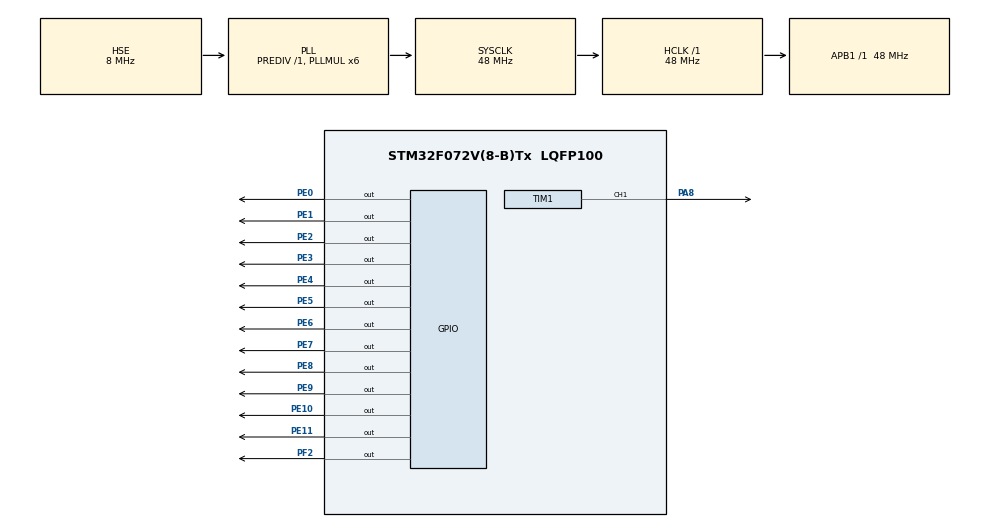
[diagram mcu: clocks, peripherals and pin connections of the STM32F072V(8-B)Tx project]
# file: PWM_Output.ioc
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Mcu.Family=STM32F0
Mcu.Name=STM32F072V(8-B)Tx
Mcu.Package=LQFP100
PA8.Signal=S_TIM1_CH1
PE0.Signal=GPIO_Output
PE1.Signal=GPIO_Output
PE10.Signal=GPIO_Output
PE11.Signal=GPIO_Output
PE2.Signal=GPIO_Output
PE3.Signal=GPIO_Output
PE4.Signal=GPIO_Output
PE5.Signal=GPIO_Output
PE6.Signal=GPIO_Output
PE7.Signal=GPIO_Output
PE8.Signal=GPIO_Output
PE9.Signal=GPIO_Output
PF0-OSC_IN.Mode=HSE-External-Oscillator
PF0-OSC_IN.Signal=RCC_OSC_IN
PF1-OSC_OUT.Mode=HSE-External-Oscillator
PF1-OSC_OUT.Signal=RCC_OSC_OUT
PF2.Signal=GPIO_Output
ProjectManager.HeapSize=0x200
ProjectManager.StackSize=0x400
ProjectManager.TargetToolchain=MDK-ARM V5
RCC.AHBFreq_Value=48000000
RCC.APB1Freq_Value=48000000
RCC.APB1TimFreq_Value=48000000
RCC.HCLKFreq_Value=48000000
RCC.HSIState=RCC_HSI_ON
RCC.PLLMUL=RCC_PLL_MUL6
RCC.PLLSourceVirtual=RCC_PLLSOURCE_HSE
RCC.SYSCLKFreq_VALUE=48000000
RCC.SYSCLKSource=RCC_SYSCLKSOURCE_PLLCLK
SH.S_TIM1_CH1.0=TIM1_CH1,PWM Generation1 CH1
TIM1.OCPolarity_1=TIM_OCPOLARITY_LOW
TIM1.Period=500
TIM1.Prescaler=47
VP_TIM1_VS_ClockSourceINT.Mode=Internal
board=PWM_Output

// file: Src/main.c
/**
  ******************************************************************************
  * File Name          : main.c
  * Description        : Main program body
  ******************************************************************************
  *
  * COPYRIGHT(c) 2017 STMicroelectronics
  *
  * Redistribution and use in source and binary forms, with or without modification,
  * are permitted provided that the following conditions are met:
  *   1. Redistributions of source code must retain the above copyright notice,
  *      this list of conditions and the following disclaimer.
  *   2. Redistributions in binary form must reproduce the above copyright notice,
  *      this list of conditions and the following disclaimer in the documentation
  *      and/or other materials provided with the distribution.
  *   3. Neither the name of STMicroelectronics nor the names of its contributors
  *      may be used to endorse or promote products derived from this software
  *      without specific prior written permission.
  *
  * THIS SOFTWARE IS PROVIDED BY THE COPYRIGHT HOLDERS AND CONTRIBUTORS "AS IS"
  * AND ANY EXPRESS OR IMPLIED WARRANTIES, INCLUDING, BUT NOT LIMITED TO, THE
  * IMPLIED WARRANTIES OF MERCHANTABILITY AND FITNESS FOR A PARTICULAR PURPOSE ARE
  * DISCLAIMED. IN NO EVENT SHALL THE COPYRIGHT HOLDER OR CONTRIBUTORS BE LIABLE
  * FOR ANY DIRECT, INDIRECT, INCIDENTAL, SPECIAL, EXEMPLARY, OR CONSEQUENTIAL
  * DAMAGES (INCLUDING, BUT NOT LIMITED TO, PROCUREMENT OF SUBSTITUTE GOODS OR
  * SERVICES; LOSS OF USE, DATA, OR PROFITS; OR BUSINESS INTERRUPTION) HOWEVER
  * CAUSED AND ON ANY THEORY OF LIABILITY, WHETHER IN CONTRACT, STRICT LIABILITY,
  * OR TORT (INCLUDING NEGLIGENCE OR OTHERWISE) ARISING IN ANY WAY OUT OF THE USE
  * OF THIS SOFTWARE, EVEN IF ADVISED OF THE POSSIBILITY OF SUCH DAMAGE.
  *
  ******************************************************************************
  */
#include "stm32f0xx_hal.h"

TIM_HandleTypeDef htim1;

/* USER CODE BEGIN PV */
/* Private variables ---------------------------------------------------------*/

/* USER CODE END PV */

void SystemClock_Config(void);
void Error_Handler(void);
static void MX_GPIO_Init(void);
static void MX_TIM1_Init(void);

void HAL_TIM_MspPostInit(TIM_HandleTypeDef *htim);

/* USER CODE BEGIN PFP */
/* Private function prototypes -----------------------------------------------*/
void SEG_Display(uint32_t num);     /*  数码管显示函数  */

/* USER CODE END PFP */

/* USER CODE BEGIN 0 */
const uint8_t table0[]= {0x3f,0x06,0x5b,0x4f,0x66,0x6d,0x7d,0x07,0x7f,0x6f};  /* 共阴（无点）*/
const uint8_t table1[]= {0xbf,0x86,0xdb,0xcf,0xe6,0xed,0xfd,0x87,0xff,0xef};  /* 共阴（有点）*/

uint32_t number;       /* 定义循环变量   */
uint32_t status;       /* 定义状态变量   */
uint32_t duty_ratio;   /* 定义占空比变量 */

/* USER CODE END 0 */

int main(void)
{

  /* MCU Configuration----------------------------------------------------------*/

  /* Reset of all peripherals, Initializes the Flash interface and the Systick. */
  HAL_Init();

  /* Configure the system clock */
  SystemClock_Config();

  /* Initialize all configured peripherals */
  MX_GPIO_Init();
  MX_TIM1_Init();

  /* USER CODE BEGIN 2 */

	/* 启动PWM输出 */
	status = HAL_TIM_PWM_Start(&htim1,TIM_CHANNEL_1);

  /* USER CODE END 2 */

  /* Infinite loop */
  /* USER CODE BEGIN WHILE */
  while (1)
  {
		/* 控制PWM波形高电平时间（0-500笥秒）*/
		number++;
		if(number>1000)
		{
			number=0;
		}

		if(number<=500)
		{
			duty_ratio = number;
			TIM1->CCR1  =  duty_ratio;
		}
		else
		{
			 duty_ratio = 1000-number;
		   TIM1->CCR1  = duty_ratio;
		}
		/*  数码管显示高电平持续时间 */
		SEG_Display(duty_ratio);

  /* USER CODE END WHILE */

  }

}

/** System Clock Configuration
*/
void SystemClock_Config(void)
{

  RCC_OscInitTypeDef RCC_OscInitStruct;
  RCC_ClkInitTypeDef RCC_ClkInitStruct;

  RCC_OscInitStruct.OscillatorType = RCC_OSCILLATORTYPE_HSE;
  RCC_OscInitStruct.HSEState = RCC_HSE_ON;
  RCC_OscInitStruct.PLL.PLLState = RCC_PLL_ON;
  RCC_OscInitStruct.PLL.PLLSource = RCC_PLLSOURCE_HSE;
  RCC_OscInitStruct.PLL.PLLMUL = RCC_PLL_MUL6;
  RCC_OscInitStruct.PLL.PREDIV = RCC_PREDIV_DIV1;
  if (HAL_RCC_OscConfig(&RCC_OscInitStruct) != HAL_OK)
  {
    Error_Handler();
  }

  RCC_ClkInitStruct.ClockType = RCC_CLOCKTYPE_HCLK|RCC_CLOCKTYPE_SYSCLK
                              |RCC_CLOCKTYPE_PCLK1;
  RCC_ClkInitStruct.SYSCLKSource = RCC_SYSCLKSOURCE_PLLCLK;
  RCC_ClkInitStruct.AHBCLKDivider = RCC_SYSCLK_DIV1;
  RCC_ClkInitStruct.APB1CLKDivider = RCC_HCLK_DIV1;
  if (HAL_RCC_ClockConfig(&RCC_ClkInitStruct, FLASH_LATENCY_1) != HAL_OK)
  {
    Error_Handler();
  }

  HAL_SYSTICK_Config(HAL_RCC_GetHCLKFreq()/1000);

  HAL_SYSTICK_CLKSourceConfig(SYSTICK_CLKSOURCE_HCLK);

  /* SysTick_IRQn interrupt configuration */
  HAL_NVIC_SetPriority(SysTick_IRQn, 0, 0);
}

/* TIM1 init function */
static void MX_TIM1_Init(void)
{

  TIM_ClockConfigTypeDef sClockSourceConfig;
  TIM_MasterConfigTypeDef sMasterConfig;
  TIM_BreakDeadTimeConfigTypeDef sBreakDeadTimeConfig;
  TIM_OC_InitTypeDef sConfigOC;

  htim1.Instance = TIM1;
  htim1.Init.Prescaler = 47;
  htim1.Init.CounterMode = TIM_COUNTERMODE_UP;
  htim1.Init.Period = 500;
  htim1.Init.ClockDivision = TIM_CLOCKDIVISION_DIV1;
  htim1.Init.RepetitionCounter = 0;
  if (HAL_TIM_Base_Init(&htim1) != HAL_OK)
  {
    Error_Handler();
  }

  sClockSourceConfig.ClockSource = TIM_CLOCKSOURCE_INTERNAL;
  if (HAL_TIM_ConfigClockSource(&htim1, &sClockSourceConfig) != HAL_OK)
  {
    Error_Handler();
  }

  if (HAL_TIM_PWM_Init(&htim1) != HAL_OK)
  {
    Error_Handler();
  }

  sMasterConfig.MasterOutputTrigger = TIM_TRGO_RESET;
  sMasterConfig.MasterSlaveMode = TIM_MASTERSLAVEMODE_DISABLE;
  if (HAL_TIMEx_MasterConfigSynchronization(&htim1, &sMasterConfig) != HAL_OK)
  {
    Error_Handler();
  }

  sBreakDeadTimeConfig.OffStateRunMode = TIM_OSSR_DISABLE;
  sBreakDeadTimeConfig.OffStateIDLEMode = TIM_OSSI_DISABLE;
  sBreakDeadTimeConfig.LockLevel = TIM_LOCKLEVEL_OFF;
  sBreakDeadTimeConfig.DeadTime = 0;
  sBreakDeadTimeConfig.BreakState = TIM_BREAK_DISABLE;
  sBreakDeadTimeConfig.BreakPolarity = TIM_BREAKPOLARITY_HIGH;
  sBreakDeadTimeConfig.AutomaticOutput = TIM_AUTOMATICOUTPUT_DISABLE;
  if (HAL_TIMEx_ConfigBreakDeadTime(&htim1, &sBreakDeadTimeConfig) != HAL_OK)
  {
    Error_Handler();
  }

  sConfigOC.OCMode = TIM_OCMODE_PWM1;
  sConfigOC.Pulse = 0;
  sConfigOC.OCPolarity = TIM_OCPOLARITY_LOW;
  sConfigOC.OCNPolarity = TIM_OCNPOLARITY_HIGH;
  sConfigOC.OCFastMode = TIM_OCFAST_DISABLE;
  sConfigOC.OCIdleState = TIM_OCIDLESTATE_RESET;
  sConfigOC.OCNIdleState = TIM_OCNIDLESTATE_RESET;
  if (HAL_TIM_PWM_ConfigChannel(&htim1, &sConfigOC, TIM_CHANNEL_1) != HAL_OK)
  {
    Error_Handler();
  }

  HAL_TIM_MspPostInit(&htim1);

}

/** Configure pins as
        * Analog
        * Input
        * Output
        * EVENT_OUT
        * EXTI
*/
static void MX_GPIO_Init(void)
{

  GPIO_InitTypeDef GPIO_InitStruct;

  /* GPIO Ports Clock Enable */
  __HAL_RCC_GPIOE_CLK_ENABLE();
  __HAL_RCC_GPIOF_CLK_ENABLE();
  __HAL_RCC_GPIOA_CLK_ENABLE();

  /*Configure GPIO pin Output Level */
  HAL_GPIO_WritePin(GPIOE, GPIO_PIN_2|GPIO_PIN_3|GPIO_PIN_4|GPIO_PIN_5
                          |GPIO_PIN_6|GPIO_PIN_7|GPIO_PIN_8|GPIO_PIN_9
                          |GPIO_PIN_10|GPIO_PIN_11|GPIO_PIN_0|GPIO_PIN_1, GPIO_PIN_RESET);

  /*Configure GPIO pin Output Level */
  HAL_GPIO_WritePin(GPIOF, GPIO_PIN_2, GPIO_PIN_RESET);

  /*Configure GPIO pins : PE2 PE3 PE4 PE5
                           PE6 PE7 PE8 PE9
                           PE10 PE11 PE0 PE1 */
  GPIO_InitStruct.Pin = GPIO_PIN_2|GPIO_PIN_3|GPIO_PIN_4|GPIO_PIN_5
                          |GPIO_PIN_6|GPIO_PIN_7|GPIO_PIN_8|GPIO_PIN_9
                          |GPIO_PIN_10|GPIO_PIN_11|GPIO_PIN_0|GPIO_PIN_1;
  GPIO_InitStruct.Mode = GPIO_MODE_OUTPUT_PP;
  GPIO_InitStruct.Pull = GPIO_NOPULL;
  GPIO_InitStruct.Speed = GPIO_SPEED_FREQ_LOW;
  HAL_GPIO_Init(GPIOE, &GPIO_InitStruct);

  /*Configure GPIO pin : PF2 */
  GPIO_InitStruct.Pin = GPIO_PIN_2;
  GPIO_InitStruct.Mode = GPIO_MODE_OUTPUT_PP;
  GPIO_InitStruct.Pull = GPIO_NOPULL;
  GPIO_InitStruct.Speed = GPIO_SPEED_FREQ_LOW;
  HAL_GPIO_Init(GPIOF, &GPIO_InitStruct);

}

/* USER CODE BEGIN 4 */

/*  数码管显示函数  */
void SEG_Display(uint32_t num)
{
	/* 取出四位数显示值 */
  uint8_t GeWei,ShiWei,BaiWei,QianWei;
	GeWei   = (uint8_t)(num%10);
	ShiWei  = (uint8_t)(num%100/10);
	BaiWei  = (uint8_t)(num%1000/100);
	QianWei = (uint8_t)(num/1000);

	/* 使能数码管位驱动  */
	HAL_GPIO_WritePin(GPIOF,GPIO_PIN_2,GPIO_PIN_RESET);

	/* 显示个位 */
	GPIOE->ODR |= (uint16_t)(table0[GeWei]);
	/* 使能个位 */
	HAL_GPIO_WritePin(GPIOE,GPIO_PIN_9|GPIO_PIN_10|GPIO_PIN_11,GPIO_PIN_SET);
	HAL_GPIO_WritePin(GPIOE,GPIO_PIN_8,GPIO_PIN_RESET);
	HAL_Delay(3);
	/* 消隐 */
  GPIOE->ODR &= 0xFF00;
	GPIOE->ODR |= 0x0F00;
	HAL_Delay(1);

	/* 显示十位 */
	GPIOE->ODR |= (uint16_t)(table0[ShiWei]);
	/* 使能十位 */
	HAL_GPIO_WritePin(GPIOE,GPIO_PIN_8|GPIO_PIN_10|GPIO_PIN_11,GPIO_PIN_SET);
	HAL_GPIO_WritePin(GPIOE,GPIO_PIN_9,GPIO_PIN_RESET);
	HAL_Delay(3);
	/* 消隐 */
  GPIOE->ODR &= 0xFF00;
	GPIOE->ODR |= 0x0F00;
	HAL_Delay(1);

	/* 显示百位 */
	GPIOE->ODR |= (uint16_t)(table0[BaiWei]);
	/* 使能百位 */
	HAL_GPIO_WritePin(GPIOE,GPIO_PIN_8|GPIO_PIN_9|GPIO_PIN_11,GPIO_PIN_SET);
	HAL_GPIO_WritePin(GPIOE,GPIO_PIN_10,GPIO_PIN_RESET);
	HAL_Delay(3);
	/* 消隐 */
  GPIOE->ODR &= 0xFF00;
	GPIOE->ODR |= 0x0F00;
	HAL_Delay(1);

	/* 显示千位 */
	GPIOE->ODR |= (uint16_t)(table0[QianWei]);
	/* 使能千位 */
	HAL_GPIO_WritePin(GPIOE,GPIO_PIN_8|GPIO_PIN_9|GPIO_PIN_10,GPIO_PIN_SET);
	HAL_GPIO_WritePin(GPIOE,GPIO_PIN_11,GPIO_PIN_RESET);
	HAL_Delay(3);
	/* 消隐 */
  GPIOE->ODR &= 0xFF00;
	GPIOE->ODR |= 0x0F00;
	HAL_Delay(1);
}

/* USER CODE END 4 */

void Error_Handler(void)
{
  while(1)
  {
  }
}

/************************ (C) COPYRIGHT STMicroelectronics *****END OF FILE****/
